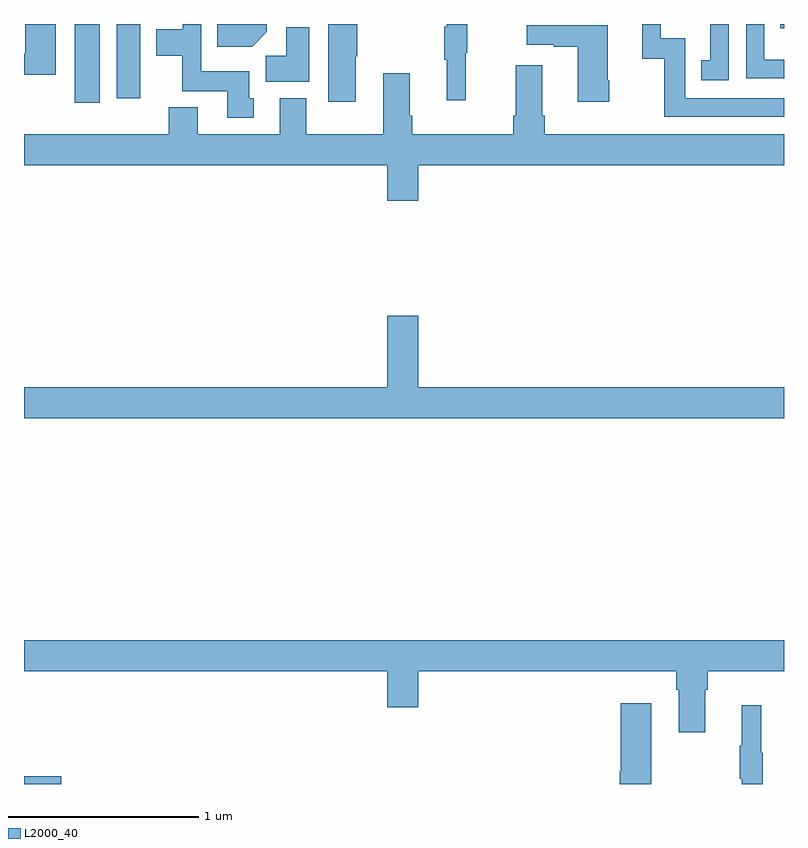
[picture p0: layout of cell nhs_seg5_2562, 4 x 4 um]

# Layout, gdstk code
import gdstk
lib = gdstk.Library(unit=1e-6, precision=1e-09)
def R(c, l, rs):  # rectangles x0, y0, x1, y1
    for r in rs: c.add(gdstk.rectangle(r[:2], r[2:], *l))
def P(c, l, *ps):  # polygons
    for p in ps: c.add(gdstk.Polygon(p, *l))
L2000_40 = (2000, 40)

nhs_seg5_2562 = lib.new_cell('nhs_seg5_2562')
R(nhs_seg5_2562, L2000_40, [(259,890.799,259.195,890.84), (259.268,894.384,259.399,894.799), (259.487,894.408,259.612,894.799), (262.981,894.777,263,894.799)])
P(nhs_seg5_2562, L2000_40, [(261.326,894.648),(261.334,894.648),(261.334,894.799),(261.224,894.799),(261.224,894.785),(261.213,894.785),(261.213,894.611),(261.224,894.611),(261.224,894.399),(261.326,894.399)],
  [(260.278,894.758),(260.278,894.799),(260.017,894.799),(260.017,894.68),(260.2,894.68)],
  [(260.746,894.628),(260.754,894.628),(260.754,894.799),(260.6,894.799),(260.6,894.39),(260.746,894.39)],
  [(260.209,894.408),(260.185,894.408),(260.185,894.55),(259.932,894.55),(259.932,894.799),(259.836,894.799),(259.836,894.772),(259.697,894.772),(259.697,894.632),(259.834,894.632),(259.834,894.446),(260.069,894.446),(260.069,894.306),(260.209,894.306)],
  [(259.168,894.799),(259.006,894.799),(259.006,894.643),(259,894.643),(259,894.533),(259.168,894.533)],
  [(263,894.408),(262.479,894.408),(262.479,894.723),(262.35,894.723),(262.35,894.799),(262.253,894.799),(262.253,894.615),(262.371,894.615),(262.371,894.312),(263,894.312)],
  [(262.71,894.799),(262.613,894.799),(262.613,894.609),(262.564,894.609),(262.564,894.504),(262.71,894.504)],
  [(263,894.61),(262.896,894.61),(262.896,894.799),(262.8,894.799),(262.8,894.513),(263,894.513)],
  [(262.08,894.502),(262.072,894.502),(262.072,894.793),(261.645,894.793),(261.645,894.689),(261.788,894.689),(261.788,894.679),(261.914,894.679),(261.914,894.39),(262.08,894.39)],
  [(260.5,894.781),(260.379,894.781),(260.379,894.632),(260.273,894.632),(260.273,894.494),(260.5,894.494)],
  [(261.076,894.056),(263,894.056),(263,894.22),(261.74,894.22),(261.74,894.316),(261.727,894.316),(261.727,894.583),(261.587,894.583),(261.587,894.316),(261.575,894.316),(261.575,894.22),(261.044,894.22),(261.044,894.316),(261.031,894.316),(261.031,894.541),(260.891,894.541),(260.891,894.22),(260.485,894.22),(260.485,894.409),(260.345,894.409),(260.345,894.22),(259.915,894.22),(259.915,894.361),(259.763,894.361),(259.763,894.22),(259,894.22),(259,894.056),(260.912,894.056),(260.912,893.868),(261.076,893.868)],
  [(263,892.888),(261.076,892.888),(261.076,893.263),(260.912,893.263),(260.912,892.888),(259,892.888),(259,892.724),(263,892.724)],
  [(262.585,891.296),(262.598,891.296),(262.598,891.392),(263,891.392),(263,891.556),(259,891.556),(259,891.392),(260.912,891.392),(260.912,891.204),(261.076,891.204),(261.076,891.392),(262.433,891.392),(262.433,891.296),(262.445,891.296),(262.445,891.072),(262.585,891.072)],
  [(262.3,891.223),(262.142,891.223),(262.142,890.865),(262.136,890.865),(262.136,890.799),(262.3,890.799)],
  [(262.888,890.964),(262.88,890.964),(262.88,891.214),(262.778,891.214),(262.778,891.001),(262.767,891.001),(262.767,890.827),(262.778,890.827),(262.778,890.799),(262.888,890.799)])

lib.write_gds('nhs_seg5_2562.gds')
